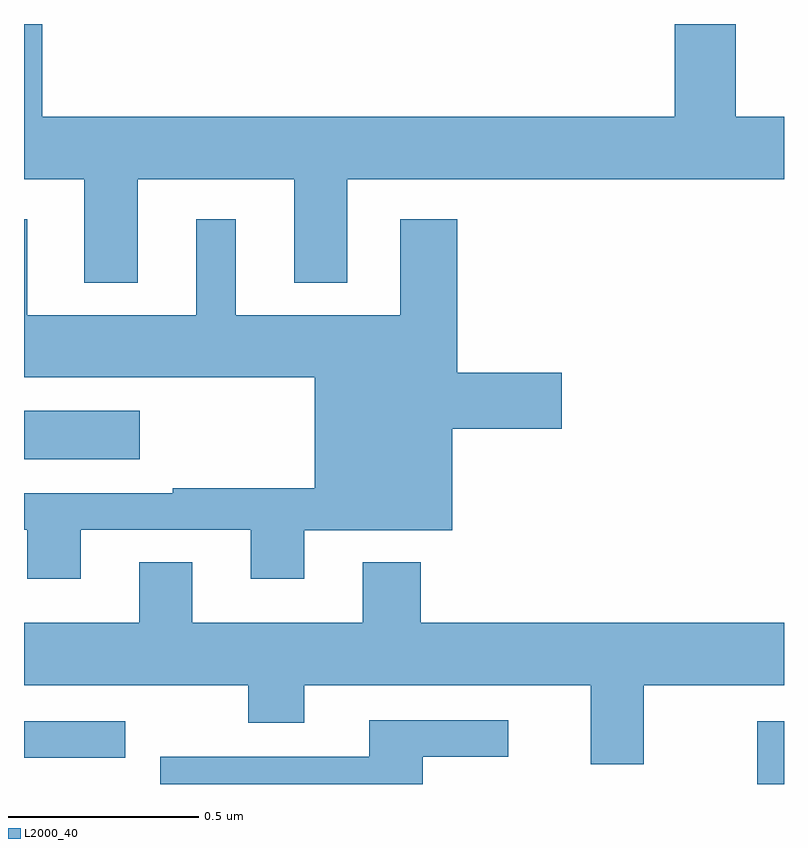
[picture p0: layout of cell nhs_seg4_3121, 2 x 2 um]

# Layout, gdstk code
import gdstk
lib = gdstk.Library(unit=1e-6, precision=1e-09)
def R(c, l, rs):  # rectangles x0, y0, x1, y1
    for r in rs: c.add(gdstk.rectangle(r[:2], r[2:], *l))
def P(c, l, *ps):  # polygons
    for p in ps: c.add(gdstk.Polygon(p, *l))
L2000_40 = (2000, 40)

nhs_seg4_3121 = lib.new_cell('nhs_seg4_3121')
R(nhs_seg4_3121, L2000_40, [(150.929,789.9,151,790.065), (149,789.969,149.266,790.065), (149,790.754,149.305,790.882)])
P(nhs_seg4_3121, L2000_40, [(149.299,791.492),(149.711,791.492),(149.711,791.219),(149.851,791.219),(149.851,791.492),(151,791.492),(151,791.656),(150.873,791.656),(150.873,791.9),(150.713,791.9),(150.713,791.656),(149.048,791.656),(149.048,791.9),(149,791.9),(149,791.492),(149.159,791.492),(149.159,791.219),(149.299,791.219)],
  [(149.149,790.569),(149.597,790.569),(149.597,790.44),(149.737,790.44),(149.737,790.568),(150.127,790.568),(150.127,790.835),(150.415,790.835),(150.415,790.982),(150.14,790.982),(150.14,791.386),(149.99,791.386),(149.99,791.134),(149.557,791.134),(149.557,791.386),(149.453,791.386),(149.453,791.134),(149.008,791.134),(149.008,791.386),(149,791.386),(149,790.97),(149.765,790.97),(149.765,790.678),(149.392,790.678),(149.392,790.665),(149,790.665),(149,790.569),(149.009,790.569),(149.009,790.44),(149.149,790.44)],
  [(150.631,790.16),(151,790.16),(151,790.324),(150.044,790.324),(150.044,790.483),(149.891,790.483),(149.891,790.324),(149.443,790.324),(149.443,790.484),(149.303,790.484),(149.303,790.324),(149,790.324),(149,790.16),(149.59,790.16),(149.59,790.061),(149.737,790.061),(149.737,790.16),(150.491,790.16),(150.491,789.952),(150.631,789.952)],
  [(150.049,789.972),(150.274,789.972),(150.274,790.068),(149.909,790.068),(149.909,789.972),(149.358,789.972),(149.358,789.9),(150.049,789.9)])

lib.write_gds('nhs_seg4_3121.gds')
